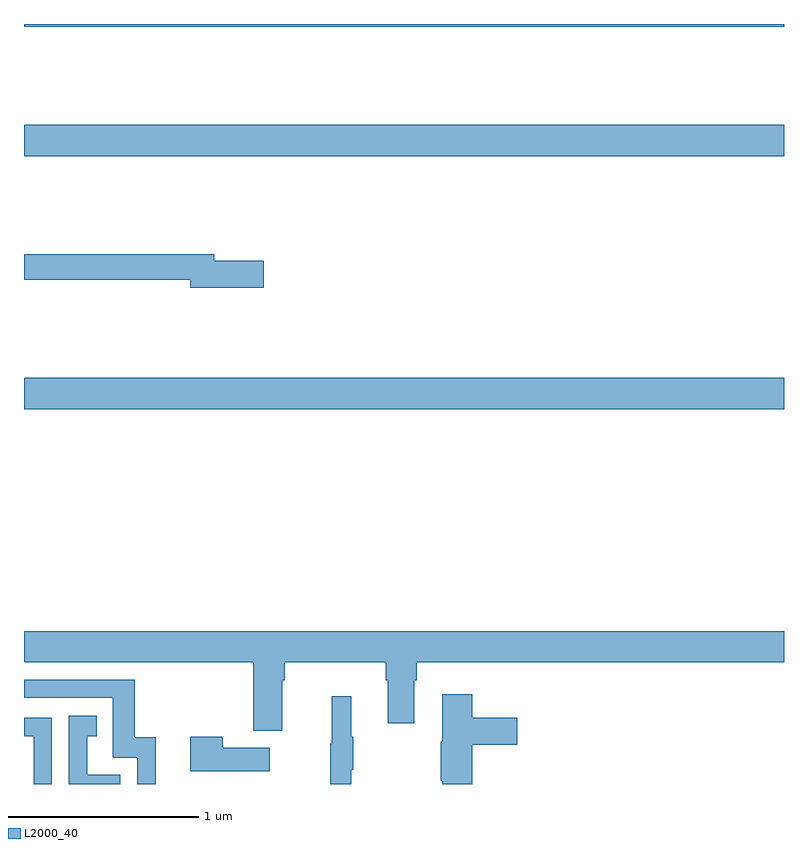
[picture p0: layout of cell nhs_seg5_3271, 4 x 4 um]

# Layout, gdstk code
import gdstk
lib = gdstk.Library(unit=1e-6, precision=1e-09)
def R(c, l, rs):  # rectangles x0, y0, x1, y1
    for r in rs: c.add(gdstk.rectangle(r[:2], r[2:], *l))
def P(c, l, *ps):  # polygons
    for p in ps: c.add(gdstk.Polygon(p, *l))
L2000_40 = (2000, 40)

nhs_seg5_3271 = lib.new_cell('nhs_seg5_3271')
R(nhs_seg5_3271, L2000_40, [(301,844.772,305,844.936), (301,846.104,305,846.268), (301,846.784,305,846.799)])
P(nhs_seg5_3271, L2000_40, [(302.263,845.552),(302.002,845.552),(302.002,845.588),(301,845.588),(301,845.452),(301.874,845.452),(301.874,845.41),(302.263,845.41)],
  [(302.359,843.344),(302.372,843.344),(302.372,843.44),(302.903,843.44),(302.903,843.344),(302.915,843.344),(302.915,843.12),(303.055,843.12),(303.055,843.344),(303.068,843.344),(303.068,843.44),(305,843.44),(305,843.604),(301,843.604),(301,843.44),(302.207,843.44),(302.207,843.078),(302.359,843.078)],
  [(301.694,843.046),(301.583,843.046),(301.583,843.348),(301,843.348),(301,843.252),(301.467,843.252),(301.467,842.937),(301.596,842.937),(301.596,842.799),(301.694,842.799)],
  [(303.359,843.005),(303.595,843.005),(303.595,843.147),(303.359,843.147),(303.359,843.271),(303.2,843.271),(303.2,843.021),(303.193,843.021),(303.193,842.815),(303.2,842.815),(303.2,842.799),(303.359,842.799)],
  [(302.723,842.875),(302.734,842.875),(302.734,843.049),(302.723,843.049),(302.723,843.262),(302.62,843.262),(302.62,843.012),(302.613,843.012),(302.613,842.799),(302.723,842.799)],
  [(301.506,842.847),(301.333,842.847),(301.333,843.051),(301.382,843.051),(301.382,843.157),(301.236,843.157),(301.236,842.799),(301.506,842.799)],
  [(301.146,843.147),(301,843.147),(301,843.05),(301.05,843.05),(301.05,842.799),(301.146,842.799)],
  [(302.293,842.989),(302.045,842.989),(302.045,843.049),(301.874,843.049),(301.874,842.867),(302.293,842.867)])

lib.write_gds('nhs_seg5_3271.gds')
